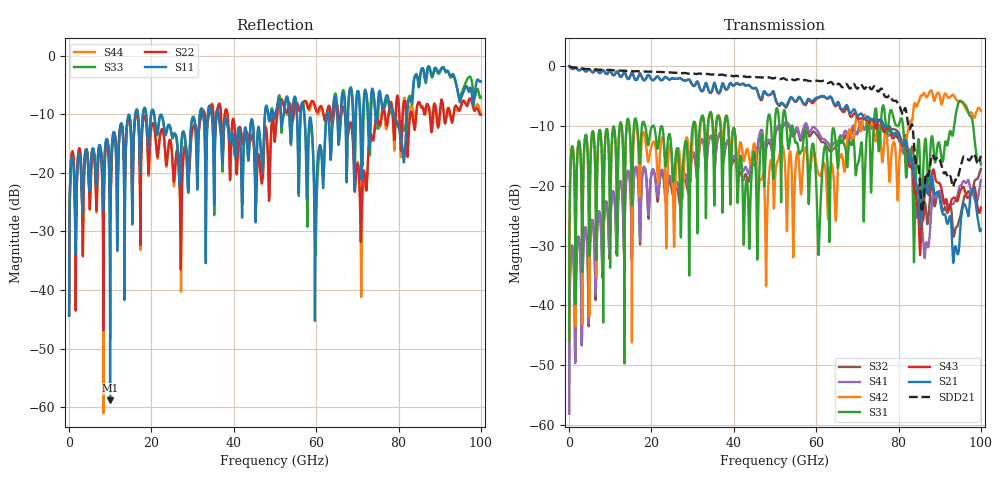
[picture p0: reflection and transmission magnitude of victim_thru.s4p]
# Hz S RI R 50
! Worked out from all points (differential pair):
!   10000 points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, 10 MHz to 100 GHz, reference 50 ohm
!   strongest paths, dB at 10 MHz, 25.01 GHz, 50.01 GHz, 75.01 GHz, 100 GHz:
!     S21: 0.0, -2.0, -5.4, -9.1, -27.3
!     S43: 0.0, -2.0, -5.2, -9.3, -23.6
!     S31: -45.9, -16.2, -9.2, -12.7, -16.5
!     S42: -45.9, -16.0, -18.9, -10.1, -7.5
!     S41: -58.0, -19.9, -11.5, -10.4, -19.1
!     S32: -58.0, -21.1, -12.0, -10.0, -17.2
!   taken as a pair (ports 1,3 in; 2,4 out), SDD21 dB: 0.0, -1.1, -2.0, -4.3, -15.0
!   lowest |S11| = -58.8 dB at 9.96 GHz (marker M1), VSWR 1.00, Z = 50.1 + j0.0101 ohm
!   |S11| at or under -10 dB: start of sweep to 16.08 GHz; 20.63 GHz to 31.74 GHz (11.12 GHz wide, 42.5 % of centre); 36.27 GHz to 47.56 GHz (11.28 GHz wide, 26.9 % of centre)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
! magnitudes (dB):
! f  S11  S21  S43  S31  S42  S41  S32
! 10 MHz  -44.4  0.0  0.0  -45.9  -45.9  -58.0  -58.0
! 750 MHz  -17.3  -0.5  -0.5  -13.4  -13.4  -30.0  -30.0
! 9.96 GHz  -58.8  -0.8  -0.8  -33.7  -23.3  -28.7  -28.9
! 59.93 GHz  -24.5  -5.3  -5.6  -18.3  -16.0  -10.5  -11.3
! 64.9 GHz  -7.8  -6.4  -6.7  -14.1  -24.6  -12.5  -13.4
! 71.06 GHz  -20.9  -8.0  -8.8  -12.9  -10.3  -9.3  -10.0
! 100 GHz  -4.4  -27.3  -23.6  -16.5  -7.5  -19.1  -17.2
